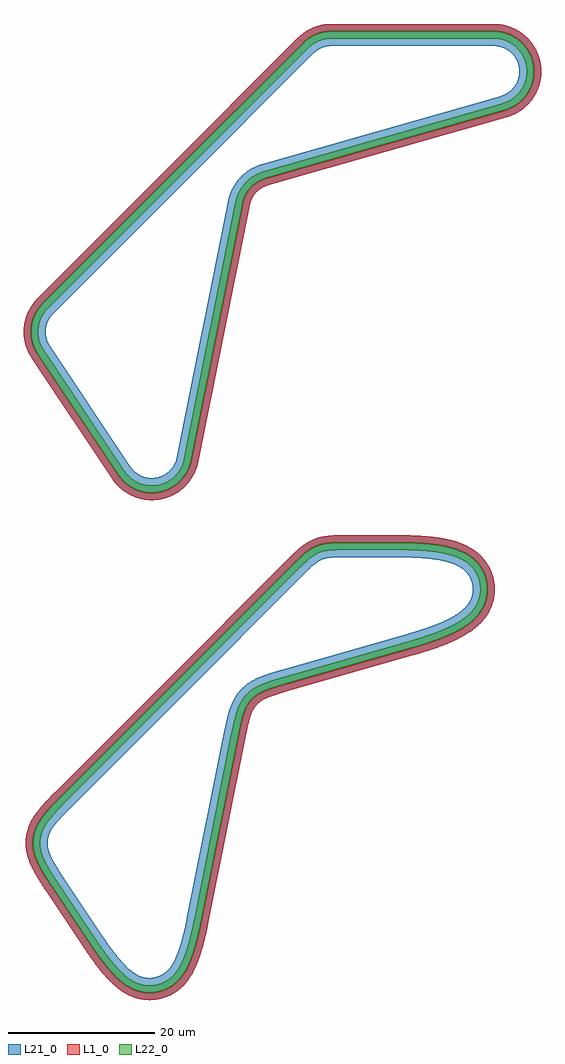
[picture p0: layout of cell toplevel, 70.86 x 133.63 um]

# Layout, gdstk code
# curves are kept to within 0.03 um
import gdstk
lib = gdstk.Library(unit=1e-6, precision=1e-09)
def R(c, l, rs):  # rectangles x0, y0, x1, y1
    for r in rs: c.add(gdstk.rectangle(r[:2], r[2:], *l))
def P(c, l, *ps):  # polygons
    for p in ps: c.add(gdstk.Polygon(p, *l))
L1_0 = (1, 0)
L21_0 = (21, 0)
L22_0 = (22, 0)

unnamed = lib.new_cell('Unnamed')
R(unnamed, L1_0, [(23.991,20.5,31.138,21.5)])
P(unnamed, L1_0, [(16.118,18.239),(16.825,17.532),(-0.354,0.354),(-1.061,1.061)],
  [(22.719,21.484),(21.604,21.418),(20.831,21.307),(20.01,21.087),(19.224,20.762),(18.488,20.336),(17.863,19.869),(16.118,18.239),(16.825,17.532),(17.805,18.484),(18.632,19.205),(19.246,19.634),(19.994,20.013),(20.676,20.245),(21.53,20.405),(22.499,20.476),(23.991,20.5),(23.991,21.5)],
  [(44.323,15.272),(44.132,16.046),(43.848,16.79),(43.475,17.495),(43.019,18.149),(42.486,18.741),(41.955,19.21),(41.3,19.667),(40.5,20.102),(39.628,20.465),(38.837,20.72),(37.871,20.958),(36.824,21.148),(34.506,21.39),(31.138,21.5),(31.138,20.5),(34.441,20.392),(36.786,20.142),(37.887,19.931),(38.778,19.695),(39.623,19.396),(40.46,19),(40.996,18.673),(41.537,18.258),(42.018,17.785),(42.437,17.256),(42.789,16.681),(43.026,16.171),(43.24,15.531),(43.375,14.87),(43.427,14.198),(43.408,13.636),(43.309,12.969),(43.129,12.319),(42.871,11.696),(42.599,11.204),(42.223,10.673),(41.707,10.099),(41.11,9.567),(40.37,9.028),(39.59,8.553),(38.588,8.039),(37.395,7.52),(36.302,7.107),(33.156,6.096),(33.43,5.134),(36.539,6.13),(38.801,7.035),(39.86,7.56),(40.725,8.066),(41.516,8.615),(42.231,9.216),(42.9,9.919),(43.377,10.563),(43.769,11.257),(44.074,11.994),(44.287,12.762),(44.404,13.55),(44.417,14.48)],
  [(15.954,0.141),(15.679,1.103),(33.156,6.096),(33.43,5.134)],
  [(10.667,-4.439),(10.908,-3.525),(11.161,-2.793),(11.445,-2.23),(11.796,-1.757),(12.459,-1.175),(13.186,-0.785),(14.274,-0.374),(15.954,0.141),(15.679,1.103),(13.744,0.502),(12.588,0.041),(11.822,-0.4),(11.111,-1.024),(10.546,-1.783),(10.131,-2.683),(9.802,-3.773),(9.36,-5.75),(10.341,-5.946)],
  [(5.227,-31.512),(4.247,-31.316),(9.36,-5.749),(10.341,-5.946)],
  [(-1.324,-41.946),(-0.691,-41.759),(-0.08,-41.51),(0.502,-41.199),(1.05,-40.831),(1.557,-40.41),(2.011,-39.949),(2.762,-38.946),(3.469,-37.623),(4.068,-36.078),(4.65,-34.062),(5.227,-31.512),(4.247,-31.316),(3.604,-34.115),(3.047,-35.974),(2.406,-37.534),(2.044,-38.204),(1.653,-38.8),(0.962,-39.597),(0.176,-40.223),(-0.813,-40.738),(-1.776,-41.022),(-2.775,-41.126),(-3.886,-41.027),(-4.85,-40.747),(-5.793,-40.273),(-6.382,-39.871),(-6.971,-39.389),(-8.158,-38.191),(-9.504,-36.519),(-11.041,-34.34),(-11.873,-34.895),(-10.243,-37.201),(-8.984,-38.765),(-7.734,-40.048),(-6.552,-40.974),(-5.933,-41.346),(-5.337,-41.629),(-4.716,-41.851),(-4.075,-42.009),(-3.29,-42.111),(-2.63,-42.123),(-1.973,-42.068)],
  [(-17.05,-27.129),(-16.218,-26.574),(-11.041,-34.34),(-11.873,-34.895)],
  [(-17.092,-15.026),(-18.402,-16.602),(-18.826,-17.24),(-19.174,-17.883),(-19.467,-18.614),(-19.642,-19.246),(-19.753,-19.893),(-19.799,-20.678),(-19.764,-21.334),(-19.664,-21.982),(-19.477,-22.685),(-19.22,-23.37),(-18.414,-24.958),(-17.05,-27.129),(-16.218,-26.574),(-17.661,-24.26),(-18.139,-23.339),(-18.45,-22.596),(-18.661,-21.888),(-18.769,-21.231),(-18.795,-20.454),(-18.729,-19.791),(-18.584,-19.141),(-18.361,-18.513),(-18.088,-17.958),(-17.747,-17.41),(-16.649,-16.028),(-15.002,-14.295),(-15.709,-13.588)],
  [(-1.061,1.061),(-0.354,0.354),(-15.002,-14.295),(-15.709,-13.588)],
  [(-1.061,1.061),(-0.354,0.354),(-0.354,0.354),(-1.061,1.061)])
R(unnamed, L21_0, [(23.991,18.5,31.138,21.5)])
P(unnamed, L21_0, [(16.118,18.239),(18.239,16.118),(1.061,-1.061),(-1.061,1.061)],
  [(22.719,21.484),(21.604,21.418),(20.831,21.307),(20.01,21.087),(19.224,20.762),(18.488,20.336),(17.863,19.869),(16.118,18.239),(18.239,16.118),(19.766,17.55),(20.219,17.884),(20.76,18.166),(21.267,18.332),(21.898,18.433),(23.991,18.5),(23.991,21.5)],
  [(44.323,15.272),(44.132,16.046),(43.848,16.79),(43.475,17.495),(43.019,18.149),(42.486,18.741),(41.955,19.21),(41.3,19.667),(40.5,20.102),(39.628,20.465),(38.837,20.72),(37.871,20.958),(36.824,21.148),(34.506,21.39),(31.138,21.5),(31.138,18.5),(33.518,18.442),(35.691,18.273),(37.443,17.981),(38.687,17.615),(39.285,17.358),(39.792,17.072),(40.161,16.803),(40.531,16.447),(40.838,16.052),(41.086,15.617),(41.269,15.151),(41.394,14.593),(41.428,14.093),(41.39,13.594),(41.281,13.106),(41.104,12.637),(40.862,12.199),(40.534,11.769),(39.7,11.003),(38.526,10.25),(37.012,9.526),(35.16,8.825),(32.606,8.019),(33.43,5.134),(36.539,6.13),(38.801,7.035),(39.86,7.56),(40.725,8.066),(41.516,8.615),(42.231,9.216),(42.9,9.919),(43.377,10.563),(43.769,11.257),(44.074,11.994),(44.287,12.762),(44.404,13.55),(44.417,14.48)],
  [(15.954,0.141),(15.13,3.026),(32.606,8.019),(33.43,5.134)],
  [(10.667,-4.439),(10.967,-3.333),(11.258,-2.572),(11.655,-1.927),(12.109,-1.445),(12.666,-1.046),(13.4,-0.694),(14.376,-0.34),(15.954,0.141),(15.13,3.026),(12.623,2.223),(11.853,1.905),(11.163,1.551),(10.447,1.07),(9.83,0.529),(9.287,-0.086),(8.825,-0.765),(8.385,-1.655),(8.069,-2.549),(7.749,-3.743),(7.399,-5.357),(10.341,-5.946)],
  [(5.227,-31.512),(2.286,-30.924),(7.399,-5.357),(10.341,-5.946)],
  [(-1.324,-41.946),(-0.691,-41.759),(-0.08,-41.51),(0.502,-41.199),(1.05,-40.831),(1.557,-40.41),(2.011,-39.949),(2.762,-38.946),(3.469,-37.623),(4.068,-36.078),(4.65,-34.062),(5.227,-31.512),(2.286,-30.924),(1.837,-32.943),(1.372,-34.658),(0.917,-35.961),(0.425,-37.008),(-0.076,-37.771),(-0.635,-38.342),(-1.356,-38.794),(-2.164,-39.06),(-3.013,-39.122),(-3.852,-38.978),(-4.586,-38.663),(-5.418,-38.085),(-6.326,-37.23),(-7.236,-36.183),(-8.309,-34.768),(-9.377,-33.231),(-11.873,-34.895),(-10.243,-37.201),(-8.984,-38.765),(-7.734,-40.048),(-6.552,-40.974),(-5.933,-41.346),(-5.337,-41.629),(-4.716,-41.851),(-4.075,-42.009),(-3.29,-42.111),(-2.63,-42.123),(-1.973,-42.068)],
  [(-17.05,-27.129),(-14.554,-25.465),(-9.377,-33.231),(-11.873,-34.895)],
  [(-17.092,-15.026),(-18.402,-16.602),(-18.826,-17.24),(-19.174,-17.883),(-19.467,-18.614),(-19.642,-19.246),(-19.753,-19.893),(-19.799,-20.678),(-19.764,-21.334),(-19.664,-21.982),(-19.477,-22.685),(-19.22,-23.37),(-18.414,-24.958),(-17.05,-27.129),(-14.554,-25.465),(-15.663,-23.719),(-16.41,-22.312),(-16.623,-21.761),(-16.74,-21.304),(-16.796,-20.813),(-16.782,-20.319),(-16.698,-19.831),(-16.547,-19.361),(-16.303,-18.865),(-16.026,-18.437),(-15.018,-17.204),(-13.588,-15.709),(-15.709,-13.588)],
  [(-1.061,1.061),(1.061,-1.061),(-13.588,-15.709),(-15.709,-13.588)],
  [(-1.061,1.061),(1.061,-1.061),(1.061,-1.061),(-1.061,1.061)])
R(unnamed, L22_0, [(23.991,19.5,31.138,20.5)])
P(unnamed, L22_0, [(16.825,17.532),(17.532,16.825),(0.354,-0.354),(-0.354,0.354)],
  [(22.749,20.484),(21.702,20.423),(21.026,20.326),(20.331,20.14),(19.667,19.865),(19.144,19.571),(18.497,19.096),(16.825,17.532),(17.532,16.825),(18.576,17.835),(19.251,18.419),(19.849,18.829),(20.377,19.089),(20.935,19.279),(21.647,19.412),(22.658,19.481),(23.991,19.5),(23.991,20.5)],
  [(43.339,15.092),(43.178,15.747),(42.89,16.48),(42.562,17.069),(42.165,17.614),(41.704,18.107),(41.115,18.59),(40.566,18.941),(39.856,19.297),(39.186,19.561),(38.339,19.82),(37.445,20.025),(36.352,20.205),(33.822,20.429),(31.138,20.5),(31.138,19.5),(34.174,19.407),(36.526,19.17),(37.56,18.979),(38.392,18.766),(39.142,18.511),(39.812,18.212),(40.334,17.912),(40.799,17.573),(41.212,17.184),(41.564,16.759),(41.861,16.294),(42.099,15.796),(42.274,15.272),(42.384,14.732),(42.428,14.089),(42.392,13.539),(42.289,12.997),(42.12,12.471),(41.888,11.97),(41.579,11.477),(40.867,10.679),(40.305,10.207),(39.564,9.699),(37.971,8.855),(35.678,7.947),(32.881,7.057),(33.156,6.096),(36.107,7.038),(38.284,7.899),(39.992,8.788),(40.81,9.335),(41.387,9.801),(41.958,10.361),(42.39,10.892),(42.768,11.496),(43.091,12.213),(43.309,12.969),(43.408,13.636),(43.419,14.423)],
  [(15.679,1.103),(15.404,2.064),(32.881,7.057),(33.156,6.096)],
  [(9.695,-4.207),(9.981,-3.136),(10.297,-2.269),(10.646,-1.622),(11.111,-1.024),(11.822,-0.4),(12.588,0.041),(13.744,0.502),(15.679,1.103),(15.404,2.064),(13.417,1.447),(12.16,0.944),(11.151,0.349),(10.376,-0.346),(9.746,-1.175),(9.233,-2.229),(8.834,-3.523),(8.379,-5.553),(9.36,-5.75)],
  [(4.247,-31.316),(3.266,-31.12),(8.379,-5.553),(9.36,-5.749)],
  [(-1.558,-40.974),(-0.506,-40.605),(0.451,-40.031),(1.264,-39.284),(1.653,-38.8),(2.044,-38.204),(2.646,-37.011),(3.188,-35.553),(3.755,-33.518),(4.247,-31.316),(3.266,-31.12),(2.711,-33.571),(2.171,-35.445),(1.557,-36.992),(0.911,-38.119),(0.335,-38.812),(-0.373,-39.387),(-1.098,-39.774),(-1.97,-40.041),(-2.787,-40.126),(-3.696,-40.045),(-4.57,-39.782),(-5.366,-39.361),(-6.392,-38.565),(-7.549,-37.368),(-8.762,-35.841),(-10.209,-33.785),(-11.041,-34.34),(-9.565,-36.437),(-8.306,-38.022),(-7.314,-39.073),(-6.186,-40.014),(-5.102,-40.641),(-4.534,-40.86),(-3.886,-41.027),(-2.775,-41.126),(-2.107,-41.077)],
  [(-16.218,-26.574),(-15.386,-26.02),(-10.209,-33.785),(-11.041,-34.34)],
  [(-16.356,-15.703),(-17.52,-17.09),(-17.971,-17.758),(-18.27,-18.311),(-18.482,-18.824),(-18.666,-19.464),(-18.76,-20.011),(-18.799,-20.676),(-18.757,-21.341),(-18.661,-21.888),(-18.489,-22.487),(-18.239,-23.121),(-17.438,-24.647),(-16.218,-26.574),(-15.386,-26.02),(-16.682,-23.958),(-17.429,-22.469),(-17.625,-21.903),(-17.765,-21.218),(-17.798,-20.583),(-17.742,-19.95),(-17.623,-19.418),(-17.441,-18.904),(-17.167,-18.361),(-16.843,-17.861),(-15.831,-16.612),(-14.295,-15.002),(-15.002,-14.295)],
  [(-0.354,0.354),(0.354,-0.354),(-14.295,-15.002),(-15.002,-14.295)],
  [(-0.354,0.354),(0.354,-0.354),(0.354,-0.354),(-0.354,0.354)])

unnamed002 = lib.new_cell('Unnamed002')
R(unnamed002, L1_0, [(22.071,20.5,44.3,21.5)])
P(unnamed002, L1_0, [(17.475,19.596),(18.182,18.889),(-0.354,0.354),(-1.061,1.061)],
  [(18.182,18.889),(19.038,19.588),(19.915,20.06),(20.971,20.389),(22.071,20.5),(22.071,21.5),(21.158,21.436),(20.137,21.206),(19.285,20.872),(18.487,20.423),(17.96,20.035),(17.475,19.596)],
  [(44.3,20.5),(45.286,20.411),(46.239,20.147),(47.13,19.716),(47.93,19.132),(48.612,18.414),(49.154,17.586),(49.539,16.674),(49.739,15.817),(49.8,15.05),(49.737,14.172),(49.535,13.315),(49.199,12.502),(48.605,11.577),(48.241,11.164),(47.753,10.719),(46.832,10.118),(45.811,9.712),(46.085,8.75),(47.177,9.171),(48.175,9.781),(49.047,10.56),(49.766,11.483),(50.308,12.52),(50.655,13.637),(50.797,14.798),(50.728,15.966),(50.599,16.604),(50.407,17.225),(50.154,17.824),(49.842,18.395),(49.475,18.932),(49.056,19.43),(48.59,19.883),(48.08,20.288),(47.304,20.764),(46.47,21.127),(45.593,21.37),(44.69,21.488),(44.3,21.5)],
  [(13.343,-0.605),(13.069,0.357),(45.811,9.712),(46.085,8.75)],
  [(13.343,-0.605),(12.877,-0.775),(12.439,-1.009),(11.732,-1.597),(11.422,-1.985),(11.17,-2.413),(10.873,-3.284),(9.892,-3.088),(10.126,-2.301),(10.498,-1.57),(11.059,-0.853),(11.679,-0.316),(12.304,0.061),(13.069,0.357)],
  [(3.838,-38.458),(2.858,-38.261),(9.892,-3.088),(10.873,-3.284)],
  [(2.858,-38.261),(2.653,-39.008),(2.345,-39.719),(1.94,-40.38),(1.446,-40.977),(0.874,-41.499),(0.137,-41.99),(-0.565,-42.318),(-1.306,-42.544),(-2.071,-42.663),(-2.956,-42.667),(-3.723,-42.553),(-4.569,-42.293),(-5.267,-41.957),(-5.997,-41.457),(-6.638,-40.846),(-7.112,-40.234),(-7.944,-40.788),(-7.384,-41.512),(-6.626,-42.234),(-5.876,-42.759),(-4.938,-43.222),(-3.938,-43.53),(-3.033,-43.664),(-1.987,-43.66),(-1.082,-43.518),(-0.085,-43.203),(0.96,-42.663),(1.891,-41.943),(2.676,-41.067),(3.107,-40.41),(3.402,-39.827),(3.678,-39.092),(3.838,-38.458)],
  [(-18.974,-24.243),(-18.142,-23.688),(-7.112,-40.234),(-7.944,-40.788)],
  [(-18.142,-23.688),(-18.527,-23.013),(-18.812,-22.29),(-19.009,-21.425),(-19.066,-20.65),(-18.978,-19.655),(-18.671,-18.59),(-18.156,-17.607),(-17.455,-16.748),(-18.162,-16.041),(-18.602,-16.528),(-18.991,-17.056),(-19.324,-17.621),(-19.599,-18.217),(-19.812,-18.838),(-19.962,-19.477),(-20.066,-20.652),(-19.999,-21.568),(-19.804,-22.465),(-19.484,-23.326),(-19.046,-24.133),(-18.974,-24.243)],
  [(-1.061,1.061),(-0.354,0.354),(-17.455,-16.748),(-18.162,-16.041)],
  [(-1.061,1.061),(-0.354,0.354),(-0.354,0.354),(-1.061,1.061)])
R(unnamed002, L21_0, [(22.071,18.5,44.3,21.5)])
P(unnamed002, L21_0, [(17.475,19.596),(19.596,17.475),(1.061,-1.061),(-1.061,1.061)],
  [(19.596,17.475),(20.141,17.92),(20.764,18.247),(21.44,18.443),(22.071,18.5),(22.071,21.5),(21.418,21.467),(20.771,21.369),(20.137,21.206),(19.523,20.98),(18.487,20.423),(17.96,20.035),(17.475,19.596)],
  [(44.3,18.5),(44.927,18.443),(45.534,18.275),(46.101,18.001),(46.557,17.675),(47,17.227),(47.355,16.707),(47.612,16.132),(47.75,15.589),(47.8,14.961),(47.736,14.335),(47.561,13.73),(47.281,13.166),(46.904,12.661),(46.442,12.232),(45.849,11.861),(45.261,11.635),(46.085,8.75),(47.177,9.171),(48.175,9.781),(49.047,10.56),(49.467,11.057),(49.836,11.593),(50.356,12.641),(50.562,13.258),(50.705,13.893),(50.799,15.059),(50.684,16.223),(50.491,16.979),(50.154,17.824),(49.702,18.615),(49.23,19.236),(48.59,19.883),(47.974,20.362),(47.304,20.764),(46.47,21.127),(45.465,21.395),(44.3,21.5)],
  [(13.343,-0.605),(12.519,2.28),(45.261,11.635),(46.085,8.75)],
  [(13.343,-0.605),(12.877,-0.775),(12.439,-1.009),(11.732,-1.597),(11.422,-1.985),(11.17,-2.413),(10.873,-3.284),(7.931,-2.695),(8.133,-1.931),(8.426,-1.197),(8.806,-0.504),(9.352,0.239),(9.899,0.809),(10.512,1.309),(11.181,1.73),(12.019,2.115),(12.519,2.28)],
  [(3.838,-38.458),(0.896,-37.869),(7.931,-2.695),(10.873,-3.284)],
  [(0.896,-37.869),(0.789,-38.278),(0.602,-38.734),(0.093,-39.493),(-0.257,-39.84),(-0.594,-40.095),(-0.959,-40.308),(-1.414,-40.498),(-1.96,-40.635),(-2.522,-40.683),(-3.083,-40.64),(-3.631,-40.507),(-4.15,-40.288),(-4.627,-39.989),(-5.099,-39.566),(-5.448,-39.124),(-7.944,-40.788),(-7.295,-41.609),(-6.524,-42.315),(-5.649,-42.889),(-4.693,-43.314),(-3.682,-43.581),(-2.641,-43.682),(-1.597,-43.615),(-0.577,-43.381),(0.274,-43.044),(0.96,-42.663),(1.595,-42.201),(2.17,-41.667),(2.676,-41.067),(3.107,-40.41),(3.504,-39.586),(3.75,-38.84),(3.838,-38.458)],
  [(-18.974,-24.243),(-16.478,-22.579),(-5.448,-39.124),(-7.944,-40.788)],
  [(-16.478,-22.579),(-16.753,-22.085),(-16.962,-21.485),(-17.054,-20.928),(-17.049,-20.292),(-16.948,-19.736),(-16.73,-19.14),(-16.448,-18.65),(-16.041,-18.162),(-18.162,-16.041),(-18.764,-16.734),(-19.198,-17.391),(-19.599,-18.217),(-19.847,-18.964),(-20.003,-19.736),(-20.065,-20.521),(-20.017,-21.438),(-19.872,-22.212),(-19.484,-23.326),(-18.974,-24.243)],
  [(-1.061,1.061),(1.061,-1.061),(-16.041,-18.162),(-18.162,-16.041)],
  [(-1.061,1.061),(1.061,-1.061),(1.061,-1.061),(-1.061,1.061)])
R(unnamed002, L22_0, [(22.071,19.5,44.3,20.5)])
P(unnamed002, L22_0, [(18.182,18.889),(18.889,18.182),(0.354,-0.354),(-0.354,0.354)],
  [(18.889,18.182),(19.59,18.754),(20.391,19.175),(21.171,19.409),(22.071,19.5),(22.071,20.5),(21.189,20.429),(20.329,20.217),(19.515,19.87),(18.856,19.463),(18.182,18.889)],
  [(44.3,19.5),(45.106,19.427),(45.887,19.211),(46.616,18.858),(47.27,18.381),(47.828,17.794),(48.228,17.195),(48.558,16.456),(48.75,15.669),(48.8,15.041),(48.748,14.322),(48.61,13.707),(48.349,13.036),(47.822,12.199),(47.195,11.555),(46.372,11.005),(45.536,10.673),(45.811,9.712),(46.734,10.068),(47.579,10.584),(48.317,11.243),(48.925,12.024),(49.384,12.902),(49.677,13.847),(49.797,14.829),(49.739,15.817),(49.63,16.357),(49.429,16.986),(48.931,17.966),(48.612,18.414),(48.171,18.907),(47.317,19.599),(46.645,19.975),(45.927,20.254),(45.177,20.43),(44.3,20.5)],
  [(13.069,0.357),(12.794,1.318),(45.536,10.673),(45.811,9.712)],
  [(13.069,0.357),(12.469,0.138),(11.906,-0.163),(11.392,-0.54),(10.997,-0.919),(10.651,-1.343),(10.316,-1.887),(10.062,-2.472),(9.892,-3.088),(8.912,-2.891),(9.197,-1.93),(9.652,-1.037),(10.187,-0.324),(10.917,0.363),(11.76,0.906),(12.794,1.318)],
  [(2.858,-38.261),(1.877,-38.065),(8.912,-2.891),(9.892,-3.088)],
  [(1.877,-38.065),(1.709,-38.677),(1.457,-39.258),(1.126,-39.799),(0.722,-40.287),(0.254,-40.714),(-0.27,-41.071),(-0.839,-41.351),(-1.441,-41.548),(-2.156,-41.667),(-2.789,-41.676),(-3.507,-41.577),(-4.114,-41.397),(-4.77,-41.089),(-5.368,-40.68),(-5.831,-40.247),(-6.28,-39.679),(-7.112,-40.234),(-6.638,-40.846),(-5.997,-41.457),(-5.267,-41.957),(-4.569,-42.293),(-3.723,-42.553),(-2.956,-42.667),(-2.071,-42.663),(-1.198,-42.518),(-0.258,-42.189),(0.607,-41.697),(1.369,-41.056),(2.003,-40.289),(2.533,-39.318),(2.858,-38.261)],
  [(-18.142,-23.688),(-17.31,-23.133),(-6.28,-39.679),(-7.112,-40.234)],
  [(-17.31,-23.133),(-17.625,-22.581),(-17.858,-21.989),(-18.006,-21.371),(-18.065,-20.738),(-17.994,-19.834),(-17.743,-18.962),(-17.322,-18.158),(-16.748,-17.455),(-17.455,-16.748),(-18.156,-17.607),(-18.671,-18.59),(-18.978,-19.655),(-19.065,-20.761),(-18.992,-21.534),(-18.812,-22.29),(-18.527,-23.013),(-18.142,-23.688)],
  [(-0.354,0.354),(0.354,-0.354),(-16.748,-17.455),(-17.455,-16.748)],
  [(-0.354,0.354),(0.354,-0.354),(0.354,-0.354),(-0.354,0.354)])

toplevel = lib.new_cell('toplevel')
toplevel.add(gdstk.Reference(unnamed, (0,0)))
toplevel.add(gdstk.Reference(unnamed002, (0,70)))

lib.write_gds('toplevel.gds')
